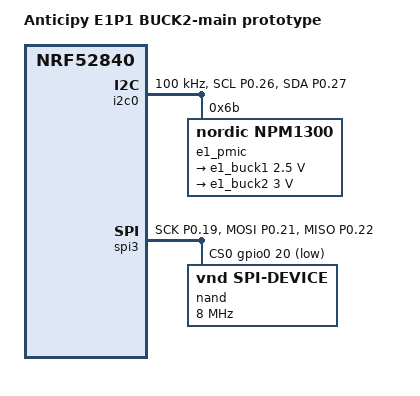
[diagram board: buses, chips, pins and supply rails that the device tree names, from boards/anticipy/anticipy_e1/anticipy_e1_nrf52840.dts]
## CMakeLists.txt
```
# SPDX-License-Identifier: Apache-2.0
cmake_minimum_required(VERSION 3.20.0)
list(APPEND BOARD_ROOT ${CMAKE_CURRENT_SOURCE_DIR})
find_package(Zephyr REQUIRED HINTS $ENV{ZEPHYR_BASE})
project(anticipy_e1)
enable_language(C ASM)

target_sources(app PRIVATE
    src/main.c
    src/transport.c
    src/transport_safety.c
    src/e1_board.c
    src/watchdog.c
    src/mic.c
    src/led.c
    src/codec.c
    src/lib/battery/battery.c
    src/battery_math.c
    src/battery_smoother.c
)

# The selected firmware contract is CELT-only restricted-low-delay Opus.
# Compiling dormant SILK/Hybrid files previously produced real array-bound
# diagnostics in code that this image must never select.
target_sources_ifdef(CONFIG_CODEC_OPUS app PRIVATE
    src/opus_packet_helpers.c
    src/lib/opus-1.2.1/analysis.c
    src/lib/opus-1.2.1/bands.c
    src/lib/opus-1.2.1/biquad_alt.c
    src/lib/opus-1.2.1/celt.c
    src/lib/opus-1.2.1/celt_decoder.c
    src/lib/opus-1.2.1/celt_encoder.c
    src/lib/opus-1.2.1/celt_lpc.c
    src/lib/opus-1.2.1/cwrs.c
    src/lib/opus-1.2.1/entcode.c
    src/lib/opus-1.2.1/entdec.c
    src/lib/opus-1.2.1/entenc.c
    src/lib/opus-1.2.1/kiss_fft.c
    src/lib/opus-1.2.1/laplace.c
    src/lib/opus-1.2.1/lin2log.c
    src/lib/opus-1.2.1/log2lin.c
    src/lib/opus-1.2.1/mathops.c
    src/lib/opus-1.2.1/mdct.c
    src/lib/opus-1.2.1/mlp.c
    src/lib/opus-1.2.1/mlp_data.c
    src/lib/opus-1.2.1/modes.c
    src/lib/opus-1.2.1/opus.c
    src/lib/opus-1.2.1/opus_encoder.c
    src/lib/opus-1.2.1/pitch.c
    src/lib/opus-1.2.1/quant_bands.c
    src/lib/opus-1.2.1/rate.c
    src/lib/opus-1.2.1/repacketizer.c
    src/lib/opus-1.2.1/vq.c
    src/lib/opus-1.2.1/arm/celt_pitch_xcorr_arm_gcc.s
)

target_compile_options(app PRIVATE
    -Werror=array-bounds=2
    -Werror=bool-compare
    -Werror=discarded-qualifiers
    -Werror=format
    -Werror=implicit-function-declaration
    -Werror=incompatible-pointer-types
    -Werror=logical-not-parentheses
    -Werror=overflow
    -Werror=return-type
    -Werror=stringop-overflow=2
    -Werror=stringop-overread
    -Werror=unused-function
    -Werror=unused-result
    -Werror=unused-variable
    -Werror=use-after-free=2
)

set(CMAKE_C_FLAGS "${CMAKE_C_FLAGS} -DARM_MATH_CM4")
# set(CMAKE_C_FLAGS "${CMAKE_C_FLAGS} -DVAR_ARRAYS")
set(CMAKE_C_FLAGS "${CMAKE_C_FLAGS} -DOPUS_ARM_ASM")
set(CMAKE_C_FLAGS "${CMAKE_C_FLAGS} -DOPUS_ARM_INLINE_ASM")
set(CMAKE_C_FLAGS "${CMAKE_C_FLAGS} -DOPUS_ARM_INLINE_EDSP")
set(CMAKE_C_FLAGS "${CMAKE_C_FLAGS} -DOPUS_ARM_INLINE_MEDIA")
set(CMAKE_C_FLAGS "${CMAKE_C_FLAGS} -DOPUS_ARM_MAY_HAVE_EDSP")
set(CMAKE_C_FLAGS "${CMAKE_C_FLAGS} -DOPUS_ARM_PRESUME_EDSP")
set(CMAKE_C_FLAGS "${CMAKE_C_FLAGS} -DOPUS_BUILD")
set(CMAKE_C_FLAGS "${CMAKE_C_FLAGS} -DUSE_ALLOCA")
set(CMAKE_C_FLAGS "${CMAKE_C_FLAGS} -DFIXED_POINT -DDISABLE_FLOAT_API")
set(CMAKE_C_FLAGS "${CMAKE_C_FLAGS} -DHAVE_CONFIG_H")
set(CMAKE_C_FLAGS "${CMAKE_C_FLAGS} -DHAVE_ALLOCA_H")
set(CMAKE_C_FLAGS "${CMAKE_C_FLAGS} -fsingle-precision-constant") # A lot of constants are written as doubles
set(CMAKE_C_FLAGS "${CMAKE_C_FLAGS} -DHAVE_LRINT -DHAVE_LRINTF")
```

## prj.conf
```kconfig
#
# Hardware settings
#

CONFIG_GPIO=y
# Raytac MDBT50Q contains the REG1 inductor. REG0/VDDH remains unused.
CONFIG_BOARD_ENABLE_DCDC=y
CONFIG_NRFX_PDM=y
CONFIG_ADC=n

#
# Hardware watchdog (wdt0 / alias watchdog0). E1 exposes MCU RESET on rear test pads and the PMIC reset button.
# The watchdog restarts a wedged application. Timeout and feed cadence, and the reasoning behind the deliberately
# long timeout, live in src/watchdog.h.
#
# WDT_DISABLE_AT_BOOT is left at its default so the driver does not try to
# hand this application a watchdog inherited from a previous boot. On nRF52
# the WDT cannot actually be stopped once running, so this is belt-and-braces.
#
CONFIG_WATCHDOG=y

# To flash via dev board
#CONFIG_BUILD_OUTPUT_UF2=n
#CONFIG_USE_DT_CODE_PARTITION=n

#
# Bluetooth settings
#

CONFIG_BT=y
CONFIG_BT_PERIPHERAL=y
CONFIG_BT_DEVICE_NAME="Anticipy"
CONFIG_BT_MAX_CONN=1
CONFIG_BT_MAX_PAIRED=1
CONFIG_BT_DEVICE_APPEARANCE=22
CONFIG_BT_GATT_DYNAMIC_DB=y
CONFIG_BT_SMP=y
CONFIG_BT_SMP_SC_PAIR_ONLY=y
CONFIG_BT_BONDING_REQUIRED=y
CONFIG_BT_SETTINGS=y
CONFIG_SETTINGS=y
CONFIG_SETTINGS_NVS=y
CONFIG_FLASH=y
CONFIG_FLASH_MAP=y
CONFIG_FLASH_PAGE_LAYOUT=y
CONFIG_NVS=y

#
# Max transmit power supported by nRF52840
#

CONFIG_BT_CTLR_TX_PWR_ANTENNA=0
CONFIG_BT_PHY_UPDATE=y

#
# Battery and Device Information services
#

CONFIG_BT_BAS=y
CONFIG_BT_DIS=y
CONFIG_BT_DIS_PNP=n
CONFIG_BT_DIS_MODEL="Anticipy Pendant"
CONFIG_BT_DIS_MANUF="Anticipy Labs"
CONFIG_BT_DIS_FW_REV=n
CONFIG_BT_DIS_HW_REV=y
CONFIG_BT_DIS_HW_REV_STR="Anticipy E1P1 BUCK2-main"

#
# Large BLE packets / BLE Buffers 
#

CONFIG_BT_L2CAP_TX_MTU=498
CONFIG_BT_L2CAP_TX_BUF_COUNT=10
# CONFIG_BT_ATT_TX_COUNT=10
CONFIG_BT_CONN_TX_MAX=30
CONFIG_BT_BUF_ACL_RX_SIZE=2048
CONFIG_BT_BUF_ACL_TX_SIZE=2048
CONFIG_BT_CTLR_DATA_LENGTH_MAX=251

CONFIG_BT_USER_DATA_LEN_UPDATE=y
CONFIG_BT_AUTO_DATA_LEN_UPDATE=y
CONFIG_BT_USER_PHY_UPDATE=y
CONFIG_BT_AUTO_PHY_UPDATE=y

#
# Debug
#
# Enable the lines below to enable debug logs via UART/USB

# CONFIG_DEBUG=y
# CONFIG_LOG=y
# CONFIG_LOG_PRINTK=y
# CONFIG_LOG_MODE_IMMEDIATE=y
# CONFIG_DEBUG_OPTIMIZATIONS=y
# CONFIG_SERIAL=y
# CONFIG_UART_CONSOLE=y
# CONFIG_LOG_BACKEND_UART=y
# CONFIG_LOG_BACKEND_UART_OUTPUT_TEXT=y
# CONFIG_LOG_DEFAULT_LEVEL=3

#
# Debug (This value breaks some builds)
#

# CONFIG_ASSERT=y

#
# Log Levels
#

# CONFIG_BT_DEBUG_LOG=y
# CONFIG_BT_L2CAP_LOG_LEVEL_DBG=y
# CONFIG_BT_LOG_LEVEL_DBG=y

# CONFIG_LOG_PROCESS_THREAD_STACK_SIZE=4096
# CONFIG_BT_RX_STACK_SIZE=4096
# CONFIG_BT_CTLR_RX_PRIO_STACK_SIZE=4096
# CONFIG_BT_DEBUG_LOG=y
# CONFIG_LOG_BUFFER_SIZE=32000
# CONFIG_LOG_OVERRIDE_LEVEL=4
# CONFIG_LOG_PROCESS_THREAD_STACK_SIZE=4096
# CONFIG_BT_RX_STACK_SIZE=4096
# CONFIG_BT_CTLR_RX_PRIO_STACK_SIZE=4096

#
# Codecs
#
CONFIG_CODEC_OPUS=y
CONFIG_RING_BUFFER=y

#
# Increase stack and heap sizes
#

CONFIG_MAIN_STACK_SIZE=8192
CONFIG_HEAP_MEM_POOL_SIZE=4096

#
# E1 live-stream prototype. The matching application discovers audio and Battery
# services, so offline storage and unused peripheral stacks stay excluded.
#
CONFIG_DISK_ACCESS=n
CONFIG_FILE_SYSTEM=n
CONFIG_FAT_FILESYSTEM_ELM=n
CONFIG_I2C=y
CONFIG_SENSOR=y
CONFIG_LSM6DSL=n
CONFIG_I2S=n
CONFIG_SPI=y


CONFIG_MFD=y
CONFIG_REGULATOR=y
CONFIG_LED=y
CONFIG_CLOCK_CONTROL_NRF_K32SRC_RC=y
CONFIG_CLOCK_CONTROL_NRF_K32SRC_XTAL=n
CONFIG_CLOCK_CONTROL_NRF_K32SRC_500PPM=y
CONFIG_CLOCK_CONTROL_NRF_K32SRC_RC_CALIBRATION=y
CONFIG_LOG=y
CONFIG_LOG_BACKEND_RTT=y
CONFIG_LOG_BACKEND_UART=n
CONFIG_CONSOLE=n
CONFIG_SERIAL=n
CONFIG_PINCTRL=y
CONFIG_SYSTEM_WORKQUEUE_STACK_SIZE=2048
CONFIG_DEBUG_THREAD_INFO=y
```

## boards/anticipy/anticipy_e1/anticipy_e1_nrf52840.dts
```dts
/dts-v1/;
#include <nordic/nrf52840_qiaa.dtsi>
#include <zephyr/dt-bindings/pinctrl/nrf-pinctrl.h>
#include <zephyr/dt-bindings/regulator/npm1300.h>
/ {
 model = "Anticipy E1P1 BUCK2-main prototype";
 compatible = "anticipation-labs,anticipy-e1";
 chosen { zephyr,sram = &sram0; zephyr,flash = &flash0; };
 aliases { watchdog0 = &wdt0; };
};
&pinctrl {
 e1_i2c: e1_i2c { group1 { psels = <NRF_PSEL(TWIM_SCL,0,26)>, <NRF_PSEL(TWIM_SDA,0,27)>; }; };
 e1_i2c_sleep: e1_i2c_sleep { group1 { psels = <NRF_PSEL(TWIM_SCL,0,26)>, <NRF_PSEL(TWIM_SDA,0,27)>; low-power-enable; }; };
 e1_spi: e1_spi { group1 { psels = <NRF_PSEL(SPIM_SCK,0,19)>, <NRF_PSEL(SPIM_MOSI,0,21)>, <NRF_PSEL(SPIM_MISO,0,22)>; }; };
 e1_spi_sleep: e1_spi_sleep { group1 { psels = <NRF_PSEL(SPIM_SCK,0,19)>, <NRF_PSEL(SPIM_MOSI,0,21)>, <NRF_PSEL(SPIM_MISO,0,22)>; low-power-enable; }; };
};
&uicr { gpio-as-nreset; };
&gpio0 { status = "okay"; };
&gpio1 { status = "okay"; };
&gpiote { status = "okay"; };
&i2c0 {
 compatible = "nordic,nrf-twim"; status = "okay"; clock-frequency = <I2C_BITRATE_STANDARD>;
 pinctrl-0 = <&e1_i2c>; pinctrl-1 = <&e1_i2c_sleep>; pinctrl-names = "default", "sleep";
 e1_pmic: pmic@6b {
  compatible = "nordic,npm1300"; reg = <0x6b>;
  e1_regulators: regulators {
   compatible = "nordic,npm1300-regulator";
   /* E1P1: BUCK1 is an unloaded 2.5V auxiliary; TP12 goes off after init. */
   e1_buck1: BUCK1 { regulator-min-microvolt = <2500000>; regulator-max-microvolt = <2500000>; regulator-init-microvolt = <2500000>; regulator-boot-off; };
   /* E1P1: BUCK2 supplies the MCU and NAND. Never disable the main rail. */
   e1_buck2: BUCK2 { regulator-min-microvolt = <3000000>; regulator-max-microvolt = <3000000>; regulator-init-microvolt = <3000000>; regulator-always-on; };
  };
  e1_charger: charger {
   compatible = "nordic,npm1300-charger";
   term-microvolt = <4200000>; term-warm-microvolt = <4100000>;
   current-microamp = <40000>; dischg-limit-microamp = <270000>;
   vbus-limit-microamp = <100000>; thermistor-ohms = <10000>;
   /* Required driver property only. e1_board.c uses the TDK 8307 table. */
   thermistor-beta = <4000>;
   /* Charging deliberately disabled in the first bring-up image. */
  };
  e1_leds: leds {
   compatible = "nordic,npm1300-led";
   nordic,led0-mode = "host"; nordic,led1-mode = "host"; nordic,led2-mode = "host";
  };
 };
};
&spi3 {
 compatible = "nordic,nrf-spim"; status = "okay";
 pinctrl-0 = <&e1_spi>; pinctrl-1 = <&e1_spi_sleep>; pinctrl-names = "default", "sleep";
 cs-gpios = <&gpio0 20 GPIO_ACTIVE_LOW>;
 nand: nand@0 { compatible = "vnd,spi-device"; reg = <0>; spi-max-frequency = <8000000>; };
};
&flash0 { partitions { compatible = "fixed-partitions"; #address-cells = <1>; #size-cells = <1>;
 code_partition: partition@0 { label = "application"; reg = <0x0 0xfc000>; };
 storage_partition: partition@fc000 { label = "storage"; reg = <0xfc000 0x4000>; };
}; };
```

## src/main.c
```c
#include <stdbool.h>
#include <stdint.h>
#include <errno.h>

#include <zephyr/kernel.h>
#include <zephyr/logging/log.h>

#include "codec.h"
#include "config.h"
#include "led.h"
#include "mic.h"
#include "e1_board.h"
#include "transport.h"
#include "watchdog.h"

#define BOOT_BLINK_DURATION_MS 600
#define BOOT_PAUSE_DURATION_MS 200

LOG_MODULE_REGISTER(main, CONFIG_LOG_DEFAULT_LEVEL);

/*
 * A FULL RING IS THE RADIO BEING BEHIND, NOT THE STREAM BEING OVER.
 *
 * Both handlers below used to hand every non-zero result to
 * transport_audio_fault, and that call switches the microphone off for the
 * remainder of the connection — recoverable only by a fresh CCC write, which
 * the phone does not send while a link is up. So a TX ring that filled for
 * 320ms, or a PCM ring that filled for a second, ended capture for the whole
 * session. Both rings drain on their own; neither says the stream is invalid.
 *
 * Dropping the block instead loses a tenth of a second of audio and keeps the
 * microphone alive, which is the trade Omi makes in the same place. There is
 * deliberately no counter here: the transport owns the loss count, because a
 * number kept in two places is a number that disagrees with itself.
 */
static void codec_handler(uint8_t *data, size_t len)
{
    if (!transport_audio_is_active()) {
        return;
    }

    int err = broadcast_audio_packets(data, len);
    if (err == -ENOSPC) {
        LOG_WRN("TX ring full, dropping one audio frame");
        return;
    }
    if (err != 0 && err != -ECANCELED) {
        LOG_ERR("Failed to queue audio packet: %d", err);
        transport_audio_fault(err);
    }
}

static void handle_mic_samples(int16_t *buffer)
{
    if (!transport_audio_is_active()) {
        return;
    }

    int err = codec_receive_pcm(buffer, MIC_BUFFER_SAMPLES);
    if (err == -ENOSPC) {
        LOG_WRN("PCM ring full, dropping one microphone block");
        return;
    }
    if (err != 0 && err != -ECANCELED) {
        LOG_ERR("Failed to queue PCM data: %d", err);
        transport_audio_fault(err);
    }
}

static void handle_mic_error(int error)
{
    transport_audio_fault(error);
}

void bt_ctlr_assert_handle(char *name, int type)
{
    /*
     * Controller state is no longer trustworthy. Cut microphone power
     * directly, leave the recording indicator conservatively lit, and enter
     * Zephyr's fatal path instead of returning to corrupt streaming state.
     */
    mic_emergency_power_off();
    /* Do not issue I2C transactions from the controller fatal ISR. */
    LOG_ERR("Bluetooth controller assertion: %s (type %d)",
            name ? name : "NULL", type);
    k_panic();
}

static int boot_led_sequence(void)
{
 int err=set_led_red(true); if(err)return err; k_msleep(150);
 err=set_led_red(false); if(err)return err;
 err=set_led_blue(true); if(err)return err; k_msleep(150);
 return set_led_blue(false);
}

static void show_startup_failure(void)
{
    for (int index = 0; index < 5; index++) {
        set_led_red(true);
        k_msleep(200);
        set_led_red(false);
        k_msleep(200);
    }
}

int main(void)
{
    /* This custom-board image is programmed and recovered over SWD. */
    int err=e1_board_init();
    if(err) { LOG_ERR("E1 power initialization failed: %d",err); return err; }

    err = led_start();
    if (err != 0) {
        /*
         * The LEDs are the physical recording indicator. Refuse to
         * initialize the microphone or advertise when they are unavailable.
         * SWD remains the recovery interface if startup fails.
         */
        LOG_ERR("Recording indicator unavailable: %d", err);
        return err;
    }
    err = boot_led_sequence();
    if (err != 0) {
        LOG_ERR("Recording indicator self-test failed: %d", err);
        return err;
    }

    set_codec_callback(codec_handler);
    set_codec_error_callback(handle_mic_error);
    err = codec_start();
    if (err != 0) {
        LOG_ERR("Failed to initialize codec: %d", err);
        show_startup_failure();
        return err;
    }

    set_mic_callback(handle_mic_samples);
    set_mic_error_callback(handle_mic_error);
    err = mic_init();
    if (err != 0) {
        LOG_ERR("Failed to initialize microphone: %d", err);
        show_startup_failure();
        return err;
    }

    /*
     * Advertising is the startup commit. The codec, microphone, and physical
     * indicator are ready before an iPhone can discover codec ID 20.
     */
    err = transport_start();
    if (err != 0) {
        LOG_ERR("Failed to start transport: %d", err);
        show_startup_failure();
        return err;
    }

    /* Arm after successful startup so initialization failures remain on SWD
     * without repeated boot loops. A watchdog failure is logged, non-fatal. */
    int watchdog_error = watchdog_start();
    if (watchdog_error != 0) {
        LOG_WRN("Watchdog unavailable; hang recovery disabled: %d",
                watchdog_error);
    }

    LOG_INF("Anticipy live-stream firmware initialized");
    while (true) {
        watchdog_feed();
        k_sleep(K_MSEC(WATCHDOG_FEED_INTERVAL_MS));
    }
}
```

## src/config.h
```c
#include <haly/nrfy_gpio.h>

// #define SAMPLE_RATE 16000
#define MIC_GAIN 64
#define MIC_IRC_PRIORITY 5
#define MIC_BUFFER_SAMPLES 1600    // 100ms
#define AUDIO_BUFFER_SAMPLES 16000 // 1s
#define NETWORK_RING_BUF_SIZE 32   // number of frames * CODEC_OUTPUT_MAX_BYTES

// THE CAPTURE GEOMETRY, stated once so the asserts below have something to
// check against.
//
// One DMA block is MIC_BUFFER_SAMPLES; one Opus frame is
// CODEC_PACKAGE_SAMPLES. 1600 / 160 = 10 EXACTLY, and that integer ratio is
// the only reason a DMA block boundary and an Opus frame boundary re-align on
// every single block instead of drifting. Nothing in this firmware states
// that, and nothing checked it — so a future tuning pass that made the mic
// buffer 1500 samples would produce audio that still encodes, still transmits
// and is progressively wrong at the seams, with no build failure and no
// runtime error to point at. Omi carries the same ratio (100 ms blocks, 20 ms
// frames, exactly 5) and its own teardown calls it load-bearing and
// undocumented. The asserts live beside the buffers they protect, in codec.c
// and transport.c, because that is where the mistake would be made.
#define MINIMAL_PACKET_SIZE 100    // Less than that doesn't make sence to send anything at all

// E1 native netlist: MCU P0.15 microphone data, P0.16 clock.
// Microphone power is nPM1300 LDSW1, never a XIAO GPIO.
#define PDM_DIN_PIN NRF_GPIO_PIN_MAP(0, 15)
#define PDM_CLK_PIN NRF_GPIO_PIN_MAP(0, 16)

// Codecs
#define CODEC_OPUS 1

#if CODEC_OPUS
#define CODEC_PACKAGE_SAMPLES (160)
// PARENTHESISED, and it was not. This expands into array bounds and into
// divisions, and `A * 2` unparenthesised is only correct where the surrounding
// operator happens to bind more loosely. `sizeof(x) / CODEC_OUTPUT_MAX_BYTES`
// reads as `sizeof(x) / 160 * 2` — four times the intended answer, silently,
// in a size calculation. Nothing in the tree divides by it today, which is
// exactly why this is worth closing now rather than after something does.
#define CODEC_OUTPUT_MAX_BYTES (CODEC_PACKAGE_SAMPLES * 2) // Let's assume that 16bit is enough
#define CODEC_OPUS_APPLICATION OPUS_APPLICATION_RESTRICTED_LOWDELAY
#define CODEC_OPUS_BITRATE 32000
#define CODEC_OPUS_VBR 0 // 40 bytes per 10 ms at 32 kbit/s
#define CODEC_OPUS_COMPLEXITY 3
#endif
#define CONFIG_OPUS_MODE CONFIG_OPUS_MODE_CELT

// Codec IDs

#ifdef CODEC_OPUS
#define CODEC_ID 20
#endif

// Logs
// #define LOG_DISCARDED
```

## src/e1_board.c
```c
/* Anticipy E1 bring-up adapter. Register definitions follow NCS 2.7.0
 * Zephyr nPM1300 drivers; TDK curve 8307 replaces the driver's beta estimate.
 * This image does not enable charging or write/erase the NAND. */
#include <errno.h>
#include <zephyr/kernel.h>
#include <zephyr/device.h>
#include <zephyr/drivers/gpio.h>
#include <zephyr/drivers/spi.h>
#include <zephyr/drivers/sensor.h>
#include <zephyr/drivers/mfd/npm1300.h>
#include <zephyr/logging/log.h>
#include "e1_board.h"
LOG_MODULE_REGISTER(e1_board, LOG_LEVEL_INF);
static const struct device *const pmic = DEVICE_DT_GET(DT_NODELABEL(e1_pmic));
static const struct device *const charger = DEVICE_DT_GET(DT_NODELABEL(e1_charger));
static const struct spi_dt_spec nand = SPI_DT_SPEC_GET(DT_NODELABEL(nand), SPI_WORD_SET(8) | SPI_TRANSFER_MSB, 0);
static K_MUTEX_DEFINE(power_lock);
static bool ready;
static struct k_work mic_off_work;
static struct k_work_sync mic_off_sync;
static int write_checked(uint8_t base, uint8_t offset, uint8_t value)
{
 uint8_t got; int err = mfd_npm1300_reg_write(pmic,base,offset,value);
 if (err) return err;
 err = mfd_npm1300_reg_read(pmic,base,offset,&got);
 return err ? err : got == value ? 0 : -EIO;
}
int e1_charge_disable(void) { return mfd_npm1300_reg_write(pmic,0x03,0x05,1); }
int e1_mic_power(bool on)
{
 if (k_is_in_isr()) return -EWOULDBLOCK;
 if(on) k_work_cancel_sync(&mic_off_work,&mic_off_sync);
 k_mutex_lock(&power_lock,K_FOREVER);
 int err = ready ? mfd_npm1300_reg_write(pmic,0x08,on ? 0x00 : 0x01,1) : -ENODEV;

 k_mutex_unlock(&power_lock);
 return err;
}
static void power_off_work(struct k_work *work)
{
 ARG_UNUSED(work);
 int err=e1_mic_power(false);
 if(err) LOG_ERR("Microphone power off failed: %d",err);
}

void e1_mic_power_off_async(void) { k_work_submit(&mic_off_work); }
int e1_battery_mv(uint16_t *mv)
{
 if (!mv) return -EINVAL;
 struct sensor_value value;
 k_mutex_lock(&power_lock,K_FOREVER);
 int err=sensor_sample_fetch(charger);
 if(!err) { k_msleep(5); err=sensor_sample_fetch(charger); }
 if(!err) err=sensor_channel_get(charger,SENSOR_CHAN_GAUGE_VOLTAGE,&value);
 k_mutex_unlock(&power_lock);
 if(err) return err;
 int64_t millivolts=(int64_t)value.val1*1000+value.val2/1000;
 if(millivolts<0 || millivolts>5500) return -ERANGE;
 *mv=(uint16_t)millivolts; return 0;
}
int e1_ntc_millicelsius(int32_t *out)
{
 /* TDK B57540G1103F000, curve 8307. Linear interpolation over 5 C
  * intervals is a prototype estimate, not a calibrated cell measurement. */
 static const uint32_t resistance[]={280240,225200,182160,148270,121420,100000,82818,68954,57703,48525,41000,34798,29663};
 if(!out) return -EINVAL;
 uint8_t data[6]; int err;
 k_mutex_lock(&power_lock,K_FOREVER);
 err=mfd_npm1300_reg_write(pmic,0x05,0x01,1);
 if(!err) { k_msleep(5); err=mfd_npm1300_reg_read_burst(pmic,0x05,0x10,data,sizeof(data)); }
 k_mutex_unlock(&power_lock);
 if(err) return err;
 unsigned code=((unsigned)data[2]<<2)|((data[5]>>2)&3u);
 if(code==0 || code>=1023) return -ENODATA;
 uint32_t r10=(100000u*code)/(1024u-code);
 if(r10>resistance[0] || r10<resistance[12]) return -ERANGE;
 for(unsigned i=0;i<12;i++) if(r10<=resistance[i] && r10>=resistance[i+1]) {
  *out=(int32_t)(i*5000u + ((resistance[i]-r10)*5000u)/(resistance[i]-resistance[i+1])); return 0;
 }
 return -ERANGE;
}
int e1_nand_probe(uint8_t id[2])
{
 if(!id || !spi_is_ready_dt(&nand)) return -ENODEV;
 /* 9Fh, one dummy address byte, then manufacturer and device IDs. */
 uint8_t tx[4]={0x9f,0,0,0},rx[4]={0};
 struct spi_buf tb={.buf=tx,.len=sizeof(tx)},rb={.buf=rx,.len=sizeof(rx)};
 struct spi_buf_set ts={.buffers=&tb,.count=1},rs={.buffers=&rb,.count=1};
 int err=spi_transceive_dt(&nand,&ts,&rs);
 if(err) return err;
 id[0]=rx[2];id[1]=rx[3];
 return (id[0]==0xc2 && id[1]==0x37) ? 0 : -ENODEV;
}
int e1_board_init(void)
{
 if(!device_is_ready(pmic)||!device_is_ready(charger)) return -ENODEV;
 int err=e1_charge_disable();
 if(err) return err;
 /* LDSW1 drives 3V_MIC; LDSW2 is unused. Both off before advertising. */
 if((err=mfd_npm1300_reg_write(pmic,0x08,0x01,1))) return err;
 if((err=mfd_npm1300_reg_write(pmic,0x08,0x03,1))) return err;
 if((err=write_checked(0x08,0x08,0))) return err;
 /* NTC comparator codes for 5 C cold, 10 C cool, 40 C warm/hot.
  * Deliberately narrower than the LP571225 0..45 C charging range.
  * Charging remains disabled until physical tolerance/fault qualification. */
 const uint16_t code[4]={709,661,375,375};
 for(unsigned i=0;i<4;i++) {
  if((err=write_checked(0x03,0x10+i*2,code[i]>>2))) return err;
  if((err=write_checked(0x03,0x11+i*2,code[i]&3))) return err;
 }
 const struct device *gpio0=DEVICE_DT_GET(DT_NODELABEL(gpio0));
 const struct device *gpio1=DEVICE_DT_GET(DT_NODELABEL(gpio1));
 /* NAND WP/IO2 and HOLD/IO3 stay high in single-SPI bring-up. */
 if((err=gpio_pin_configure(gpio0,23,GPIO_OUTPUT_HIGH))) return err;
 if((err=gpio_pin_configure(gpio1,0,GPIO_OUTPUT_HIGH))) return err;
 if((err=gpio_pin_configure(gpio0,8,GPIO_OUTPUT_LOW))) return err;
 k_work_init(&mic_off_work,power_off_work);
 ready=true;
 uint8_t id[2];err=e1_nand_probe(id);
 if(err) LOG_WRN("NAND identification unavailable: %d",err);
 else LOG_INF("NAND ID %02x %02x; no data written",id[0],id[1]);
 LOG_INF("E1P1 BUCK2 main; BUCK1/TP12 off after init; charging disabled");
 return 0;
}
```

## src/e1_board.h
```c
#pragma once
#include <stdint.h>
#include <stdbool.h>
int e1_board_init(void);
int e1_mic_power(bool on);
void e1_mic_power_off_async(void);
int e1_battery_mv(uint16_t *mv);
int e1_ntc_millicelsius(int32_t *value);
int e1_charge_disable(void);
int e1_nand_probe(uint8_t id[2]);
```

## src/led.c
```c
#include <errno.h>
#include <zephyr/device.h>
#include <zephyr/drivers/led.h>
#include "led.h"
static const struct device *const leds=DEVICE_DT_GET(DT_NODELABEL(e1_leds));
int led_start(void) {
 if(!device_is_ready(leds)) return -ENODEV;
 int err=led_off(leds,0); return err ? err : led_off(leds,1);
}
int set_led_blue(bool on) { return on ? led_on(leds,0) : led_off(leds,0); }
int set_led_red(bool on) { return on ? led_on(leds,1) : led_off(leds,1); }

/* A visible 2 Hz red recording pulse, 100 ms on / 400 ms off. At the
 * nPM1300's nominal 5 mA LED sink this averages 1 mA. Red also has more
 * forward-voltage margin than blue near an empty cell. Optical visibility
 * and actual current remain first-article measurements. */
#include <zephyr/kernel.h>
#include "transport.h"
static K_MUTEX_DEFINE(indicator_lock);
static bool recording_active;
static bool recording_lit;
static void indicator_tick(struct k_work *work);
K_WORK_DELAYABLE_DEFINE(recording_work,indicator_tick);
static struct k_work_sync recording_sync;
static void indicator_tick(struct k_work *work)
{
 ARG_UNUSED(work);
 int err=0;
 k_mutex_lock(&indicator_lock,K_FOREVER);
 if(recording_active) {
  recording_lit=!recording_lit;
  err=set_led_red(recording_lit);
  if(err) recording_active=false;
  else k_work_reschedule(&recording_work,K_MSEC(recording_lit ? 100 : 400));
 }
 k_mutex_unlock(&indicator_lock);
 if(err) transport_audio_fault(err);
}
int recording_indicator_stop(void)
{
 k_mutex_lock(&indicator_lock,K_FOREVER);recording_active=false;k_mutex_unlock(&indicator_lock);
 k_work_cancel_delayable_sync(&recording_work,&recording_sync);
 k_mutex_lock(&indicator_lock,K_FOREVER);
 int err=set_led_red(false);recording_lit=false;
 k_mutex_unlock(&indicator_lock);
 return err;
}
int recording_indicator_start(void)
{
 int err=recording_indicator_stop();if(err)return err;
 k_mutex_lock(&indicator_lock,K_FOREVER);
 err=set_led_red(true);
 if(!err) {recording_active=true;recording_lit=true;k_work_reschedule(&recording_work,K_MSEC(100));}
 k_mutex_unlock(&indicator_lock);
 return err;
}
```

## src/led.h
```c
#pragma once
#include <stdbool.h>
int led_start(void);
int set_led_red(bool on);
int set_led_blue(bool on);
int recording_indicator_start(void);
int recording_indicator_stop(void);
```

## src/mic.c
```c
#include <errno.h>
#include <string.h>

#include <haly/nrfy_gpio.h>
#include <zephyr/irq.h>
#include <zephyr/kernel.h>
#include <zephyr/logging/log.h>
#include <zephyr/sys/atomic.h>

#include "config.h"
#include "mic.h"
#include "e1_board.h"
#include "nrfx_clock.h"
#include <zephyr/drivers/clock_control/nrf_clock_control.h>
#include <zephyr/sys/onoff.h>
#include "nrfx_pdm.h"

LOG_MODULE_REGISTER(mic, CONFIG_LOG_DEFAULT_LEVEL);

#define PDM_STOP_TIMEOUT_MS 250

static int16_t buffer_0[MIC_BUFFER_SAMPLES];
static int16_t buffer_1[MIC_BUFFER_SAMPLES];
static atomic_t next_buffer_index;
static atomic_t warmup_blocks;
static mic_handler sample_callback;
static mic_error_handler error_callback;
static atomic_t initialized;
static atomic_t running;
static atomic_t hardware_started;
static atomic_t stopping;
static atomic_t session_epoch;
static K_MUTEX_DEFINE(mic_lifecycle_lock);
static struct onoff_manager *hf_manager;
static struct onoff_client hf_client;
static bool hf_owned;
static int clock_acquire(void)
{
 if(hf_owned) return 0;
 sys_notify_init_spinwait(&hf_client.notify);
 int err=onoff_request(hf_manager,&hf_client);
 if(err<0) return err;
 int result; int64_t deadline=k_uptime_get()+250;
 while(sys_notify_fetch_result(&hf_client.notify,&result)==-EAGAIN) {
  if(k_uptime_get()>deadline) { (void)onoff_cancel_or_release(hf_manager,&hf_client); return -ETIMEDOUT; }
  k_msleep(1);
 }
 if(result<0) return result;
 hf_owned=true; return 0;
}
static void clock_release(void)
{
 if(hf_owned) { (void)onoff_release(hf_manager); hf_owned=false; }
}

K_SEM_DEFINE(pdm_stopped, 0, 1);

static int stop_hardware_locked(void)
{
    atomic_clear(&running);
    int power_error = e1_mic_power(false);
    if (!atomic_get(&hardware_started)) {
        memset(buffer_0, 0, sizeof(buffer_0));
        memset(buffer_1, 0, sizeof(buffer_1));
        return power_error;
    }
    if (atomic_get(&stopping)) {
        int wait_error =
            k_sem_take(&pdm_stopped, K_MSEC(PDM_STOP_TIMEOUT_MS));
        if (wait_error != 0) {
            LOG_ERR("PDM remains in the stopping state: %d",
                    wait_error);
            return -ETIMEDOUT;
        }
        memset(buffer_0, 0, sizeof(buffer_0));
        memset(buffer_1, 0, sizeof(buffer_1));
        return power_error;
    }

    k_sem_reset(&pdm_stopped);
    atomic_set(&stopping, 1);
    nrfx_err_t result = nrfx_pdm_stop();
    if (result != NRFX_SUCCESS) {
        atomic_clear(&stopping);
        LOG_ERR("PDM stop failed: %d", result);
        return -EIO;
    }

    /*
     * Pinned nrfx stops STARTING/IDLE synchronously, but RUNNING stops only
     * after the current frame and a final callback. Never scrub DMA buffers
     * or permit restart until the peripheral is observably disabled.
     */
    if (nrfx_pdm_enable_check()) {
        int wait_error =
            k_sem_take(&pdm_stopped, K_MSEC(PDM_STOP_TIMEOUT_MS));
        if (wait_error != 0) {
            LOG_ERR("Timed out waiting for PDM quiescence: %d",
                    wait_error);
            return -ETIMEDOUT;
        }
    } else {
        atomic_clear(&hardware_started);
        atomic_clear(&stopping);
    }

    memset(buffer_0, 0, sizeof(buffer_0));
    memset(buffer_1, 0, sizeof(buffer_1));
    return power_error;
}

static void record_pdm_fault(int error)
{
    if (error == 0) {
        error = -EIO;
    }
    atomic_val_t fault_epoch = atomic_get(&session_epoch);
    if (!atomic_cas(&running, 1, 0)) {
        return;
    }
    if (fault_epoch != atomic_get(&session_epoch)) {
        return;
    }
    e1_mic_power_off_async();
    /*
     * The registered callback is transport_audio_fault(), which only uses
     * ISR-safe atomics, a spinlock, and k_sem_give(). The audio-control
     * thread owns the serialized/quiescence-confirmed nrfx stop.
     */
    if (error_callback != NULL) {
        error_callback(error);
    }
}

static void pdm_irq_handler(nrfx_pdm_evt_t const *event)
{
    if (atomic_get(&stopping)) {
        if (!nrfx_pdm_enable_check()) {
            atomic_clear(&hardware_started);
            atomic_clear(&stopping);
            k_sem_give(&pdm_stopped);
        }
        return;
    }

    if (event->error != 0) {
        LOG_ERR("PDM IRQ error: %d", event->error);
        record_pdm_fault(-EIO);
        return;
    }

    if (event->buffer_requested && atomic_get(&running)) {
        atomic_val_t buffer_index = atomic_inc(&next_buffer_index);
        int16_t *next_buffer =
            (buffer_index & 1) == 0 ? buffer_0 : buffer_1;
        nrfx_err_t result =
            nrfx_pdm_buffer_set(next_buffer, MIC_BUFFER_SAMPLES);
        if (result != NRFX_SUCCESS) {
            LOG_ERR("PDM buffer queue failed: %d", result);
            record_pdm_fault(-ENOBUFS);
            return;
        }
    }

    if (event->buffer_released != NULL && atomic_get(&running) &&
        sample_callback != NULL) {
        if(!atomic_cas(&warmup_blocks,1,0)) sample_callback(event->buffer_released);
    }
}

int mic_init(void)
{
    if (atomic_get(&initialized)) {
        return 0;
    }

    hf_manager=z_nrf_clock_control_get_onoff(CLOCK_CONTROL_NRF_SUBSYS_HF);
    if(!hf_manager) return -ENODEV;

    nrfx_pdm_config_t config =
        NRFX_PDM_DEFAULT_CONFIG(PDM_CLK_PIN, PDM_DIN_PIN);
    config.gain_l = MIC_GAIN;
    config.gain_r = MIC_GAIN;
    config.interrupt_priority = MIC_IRC_PRIORITY;
    config.clock_freq = NRF_PDM_FREQ_1280K;
    config.mode = NRF_PDM_MODE_MONO;
    config.edge = NRF_PDM_EDGE_LEFTFALLING;
    config.ratio = NRF_PDM_RATIO_80X;

    /*
     * Match the pinned Zephyr nrfx PDM driver: nrfx_isr is a regular,
     * kernel-aware ISR wrapper. The event callback may therefore use
     * ISR-safe Zephyr primitives such as k_sem_give().
     */
    IRQ_CONNECT(
        PDM_IRQn, MIC_IRC_PRIORITY,
        nrfx_isr, nrfx_pdm_irq_handler, 0);
    nrfx_err_t result = nrfx_pdm_init(&config, pdm_irq_handler);
    if (result != NRFX_SUCCESS) {
        LOG_ERR("PDM initialization failed: %d", result);
        return -EIO;
    }

    int power_error = e1_mic_power(false);
    if (power_error) { return power_error; }
    atomic_set(&initialized, 1);
    return 0;
}

int mic_start(void)
{
    k_mutex_lock(&mic_lifecycle_lock, K_FOREVER);
    if (!atomic_get(&initialized)) {
        k_mutex_unlock(&mic_lifecycle_lock);
        return -EACCES;
    }
    if (atomic_get(&running)) {
        k_mutex_unlock(&mic_lifecycle_lock);
        return 0;
    }
    if (atomic_get(&hardware_started) ||
        atomic_get(&stopping)) {
        k_mutex_unlock(&mic_lifecycle_lock);
        return -EBUSY;
    }

    atomic_inc(&session_epoch);
    atomic_set(&next_buffer_index, 0);
    atomic_set(&warmup_blocks,1);
    memset(buffer_0, 0, sizeof(buffer_0));
    memset(buffer_1, 0, sizeof(buffer_1));
    int clock_error=clock_acquire();
    if(clock_error) { k_mutex_unlock(&mic_lifecycle_lock); return clock_error; }
    int power_error = e1_mic_power(true);
    if (power_error) { clock_release(); k_mutex_unlock(&mic_lifecycle_lock); return power_error; }
    atomic_set(&hardware_started, 1);
    atomic_set(&running, 1);
    nrfx_err_t result = nrfx_pdm_start();
    if (result != NRFX_SUCCESS) {
        atomic_clear(&running);
        atomic_clear(&hardware_started);
        atomic_inc(&session_epoch);
        e1_mic_power_off_async();
        clock_release();
        LOG_ERR("PDM start failed: %d", result);
        k_mutex_unlock(&mic_lifecycle_lock);
        return -EIO;
    }
    k_mutex_unlock(&mic_lifecycle_lock);
    return 0;
}

int mic_stop(void)
{
    k_mutex_lock(&mic_lifecycle_lock, K_FOREVER);
    /*
     * Clear running before advancing the epoch so an IRQ can only claim the
     * old session or observe a stopped microphone, never the new epoch.
     */
    atomic_clear(&running);
    atomic_inc(&session_epoch);
    int err = stop_hardware_locked();
    if(!atomic_get(&hardware_started)) clock_release();
    k_mutex_unlock(&mic_lifecycle_lock);
    return err;
}

bool mic_is_running(void)
{
    return atomic_get(&running) != 0;
}

void mic_emergency_power_off(void)
{
    atomic_clear(&running);
    atomic_inc(&session_epoch);
    nrf_pdm_disable(NRF_PDM);
    e1_mic_power_off_async();
}

void set_mic_callback(mic_handler callback)
{
    sample_callback = callback;
}

void set_mic_error_callback(mic_error_handler callback)
{
    error_callback = callback;
}
```

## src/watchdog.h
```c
// SPDX-License-Identifier: MIT
#ifndef ANTICIPY_WATCHDOG_H
#define ANTICIPY_WATCHDOG_H
#include <stdbool.h>
/* E1 starts directly over SWD and has no application bootloader or OTA path.
 * Arm only after successful initialization. The main thread feeds every1s;
 * a stalled main thread resets after30s. Worker liveness is not independently
 * monitored by this watchdog and requires physical fault-injection tests.
 * A failed initialization remains accessible over SWD without reboot loops.
 */
#define WATCHDOG_TIMEOUT_MS 30000u
#define WATCHDOG_FEED_INTERVAL_MS 1000u
int watchdog_start(void);
void watchdog_feed(void);
#endif
```
